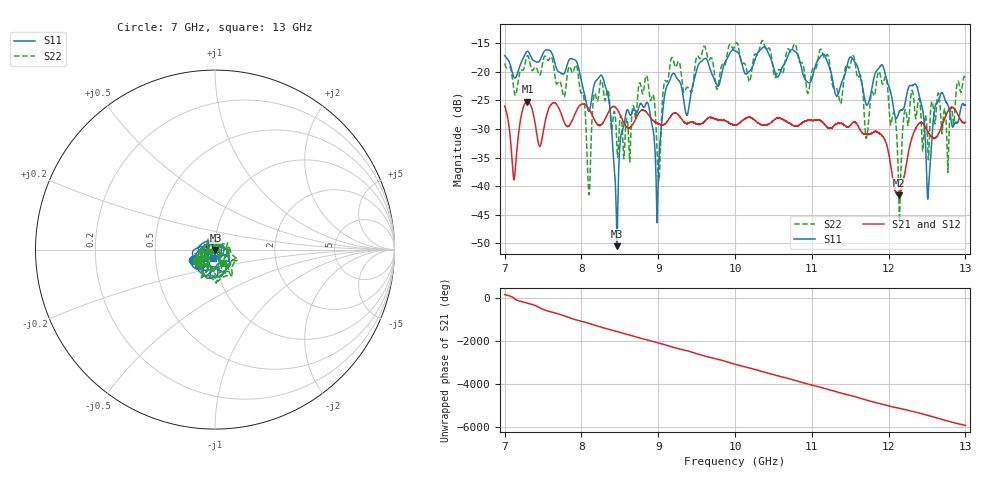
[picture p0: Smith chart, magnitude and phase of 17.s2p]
[Version] 2.0
! Rohde & Schwarz Vector Network Analyzer
! Rohde-Schwarz,ZNL20-2Port,1323001220200009,1.71.1.10-23.02.1.238
! Port Assignments:
! Nominal Port -> Actual Test Port
!  1 -> 1
!  2 -> 2
! Created: GMT+3 2024-09-24 15:14:56
# Hz S DB R 50
[Number of Ports] 2
[Two-Port Data Order] 21_12
! freq[Hz]  S11[mag dB]  S11[ang]  S21[mag dB]  S21[ang]  S12[mag dB]  S12[ang]  S22[mag dB]  S22[ang]
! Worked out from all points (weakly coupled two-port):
!   6001 points, 7 GHz to 13 GHz, reference 50 ohm
!   highest |S21| = -25.23 dB at 7.298 GHz (marker M1); lowest = -41.6 dB at 12.13 GHz (marker M2)
!   lowest |S11| = -50.5 dB at 8.464 GHz (marker M3), VSWR 1.01, Z = 50.3 - j0.133 ohm
!   |S11| at or under -10 dB: start of sweep to end of sweep
!   |S22| runs from -46.1 to -14.6 dB; largest |S21 - S12| = 0.00077
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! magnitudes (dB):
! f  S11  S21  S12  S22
! 7 GHz  -17.2  -26.0  -26.0  -18.6
! 7.124 GHz  -21.0  -38.8  -38.9  -23.4
! 7.298 GHz  -16.4  -25.2  -25.2  -17.2
! 7.458 GHz  -18.1  -33.0  -33.1  -20.6
! 8 GHz  -21.7  -25.7  -25.7  -23.8
! 8.097 GHz  -26.9  -26.5  -26.5  -41.2
! 8.167 GHz  -22.2  -28.4  -28.3  -23.9
! 8.305 GHz  -22.2  -28.4  -28.3  -25.1
! 8.464 GHz  -50.5  -26.6  -26.5  -33.6
! 8.574 GHz  -27.8  -29.4  -29.4  -30.0
! 8.772 GHz  -25.5  -26.8  -26.8  -22.3
! 9 GHz  -38.6  -29.1  -29.1  -38.0
! 9.176 GHz  -20.7  -27.6  -27.6  -17.6
! 9.375 GHz  -27.6  -29.1  -29.1  -22.7
! 10 GHz  -16.4  -29.3  -29.3  -15.4
! 11 GHz  -21.3  -28.5  -28.5  -20.0
! 12 GHz  -22.5  -34.2  -34.2  -24.9
! 12.13 GHz  -27.3  -41.6  -41.4  -40.4
! 12.37 GHz  -22.5  -29.6  -29.6  -27.4
! 12.52 GHz  -41.0  -30.6  -30.6  -35.3
! 12.67 GHz  -24.3  -30.3  -30.3  -25.4
! 13 GHz  -25.9  -28.8  -28.9  -21.4
